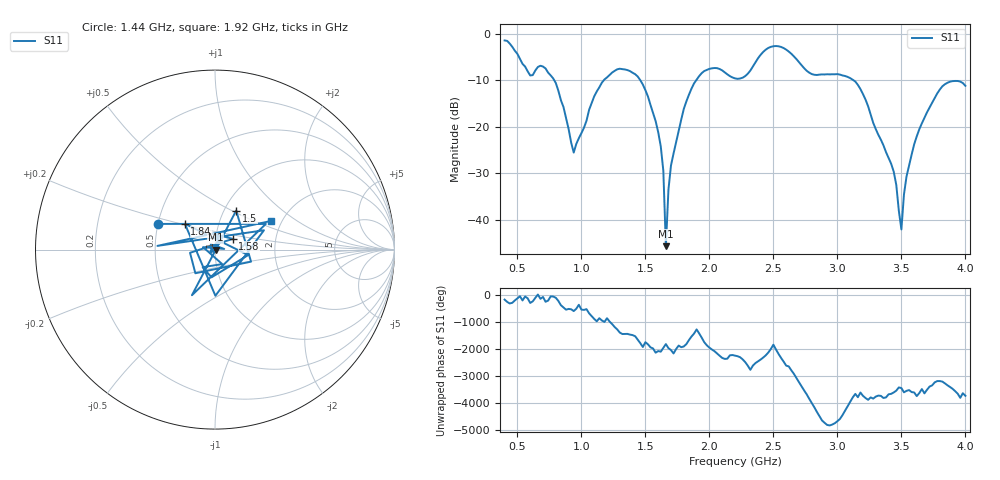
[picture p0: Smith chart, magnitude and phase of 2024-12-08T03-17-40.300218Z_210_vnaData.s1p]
!Created with skrf (http://scikit-rf.org).
# Hz S RI R 50.0
!freq ReS11 ImS11
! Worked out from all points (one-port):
!   181 points, 400 MHz to 4 GHz, reference 50 ohm
!   lowest |S11| = -45.7 dB at 1.66 GHz (marker M1), VSWR 1.01, Z = 50.5 - j0.0787 ohm
!   |S11| at or under -10 dB: 788.1 MHz to 1.175 GHz (386.6 MHz wide, 39.4 % of centre); 1.461 GHz to 1.896 GHz (435.7 MHz wide, 26 % of centre); 3.126 GHz to end of sweep
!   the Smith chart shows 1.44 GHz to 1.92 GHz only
!   S11 on the Smith chart (normalised r, x): 1.44 GHz: 0.50, +0.16; 1.5 GHz: 1.14, +0.53; 1.58 GHz: 1.21, +0.15; 1.84 GHz: 0.69, +0.21; 1.92 GHz: 1.76, +0.64
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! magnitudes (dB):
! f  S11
! 400 MHz  -1.4
! 600 MHz  -8.9
! 720 MHz  -7.4
! 860 MHz  -15.8
! 940 MHz  -25.6
! 1.12 GHz  -12.4
! 1.3 GHz  -7.5
! 1.44 GHz  -9.2
! 1.5 GHz  -12.1
! 1.58 GHz  -18.8
! 1.64 GHz  -29.4
! 1.66 GHz  -45.7
! 1.68 GHz  -33.5
! 1.7 GHz  -28.3
! 1.76 GHz  -20.9
! 1.84 GHz  -13.1
! 1.92 GHz  -9.1
! 2.2 GHz  -9.6
! 2.48 GHz  -2.8
! 2.66 GHz  -4.8
! 3.1 GHz  -9.5
! 3.42 GHz  -28.0
! 3.46 GHz  -32.5
! 3.5 GHz  -42.1
! 3.52 GHz  -34.6
! 3.56 GHz  -28.3
! 3.8 GHz  -12.0
! 4 GHz  -11.2
